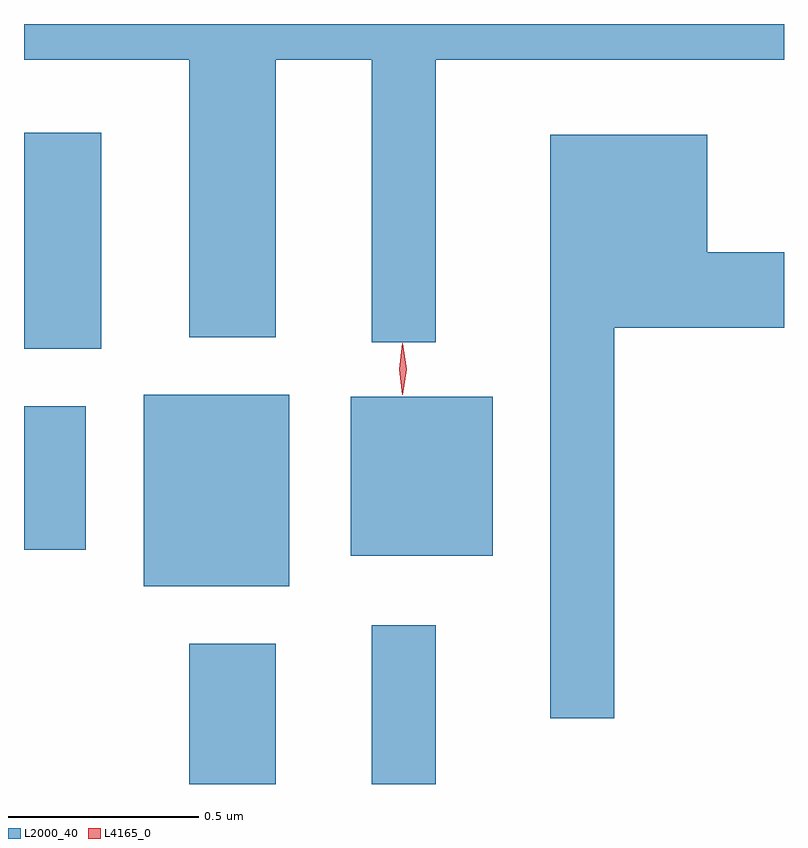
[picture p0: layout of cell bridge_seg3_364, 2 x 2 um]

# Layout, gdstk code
import gdstk
lib = gdstk.Library(unit=1e-6, precision=1e-09)
def R(c, l, rs):  # rectangles x0, y0, x1, y1
    for r in rs: c.add(gdstk.rectangle(r[:2], r[2:], *l))
def P(c, l, *ps):  # polygons
    for p in ps: c.add(gdstk.Polygon(p, *l))
L2000_40 = (2000, 40)
L4165_0 = (4165, 0)

bridge_seg3_364 = lib.new_cell('bridge_seg3_364')
R(bridge_seg3_364, L2000_40, [(666.271,1228.45,666.499,1228.819), (666.751,1228.45,666.919,1228.868), (666.151,1228.971,666.534,1229.474), (666.696,1229.051,667.069,1229.469), (665.836,1229.066,665.999,1229.444), (665.836,1229.596,666.039,1230.164)])
P(bridge_seg3_364, L2000_40, [(666.919,1230.356),(667.836,1230.356),(667.836,1230.45),(665.836,1230.45),(665.836,1230.356),(666.271,1230.356),(666.271,1229.626),(666.499,1229.626),(666.499,1230.356),(666.751,1230.356),(666.751,1229.613),(666.919,1229.613)],
  [(667.389,1229.651),(667.836,1229.651),(667.836,1229.849),(667.634,1229.849),(667.634,1230.159),(667.221,1230.159),(667.221,1228.623),(667.389,1228.623)])
P(bridge_seg3_364, L4165_0, [(666.832,1229.474),(666.823,1229.542),(666.832,1229.61),(666.833,1229.61),(666.833,1229.61),(666.843,1229.542),(666.833,1229.474),(666.833,1229.474)],
  [(666.832,1229.478),(666.823,1229.542),(666.832,1229.607),(666.833,1229.607),(666.833,1229.607),(666.843,1229.542),(666.833,1229.478),(666.833,1229.478)])

lib.write_gds('bridge_seg3_364.gds')
